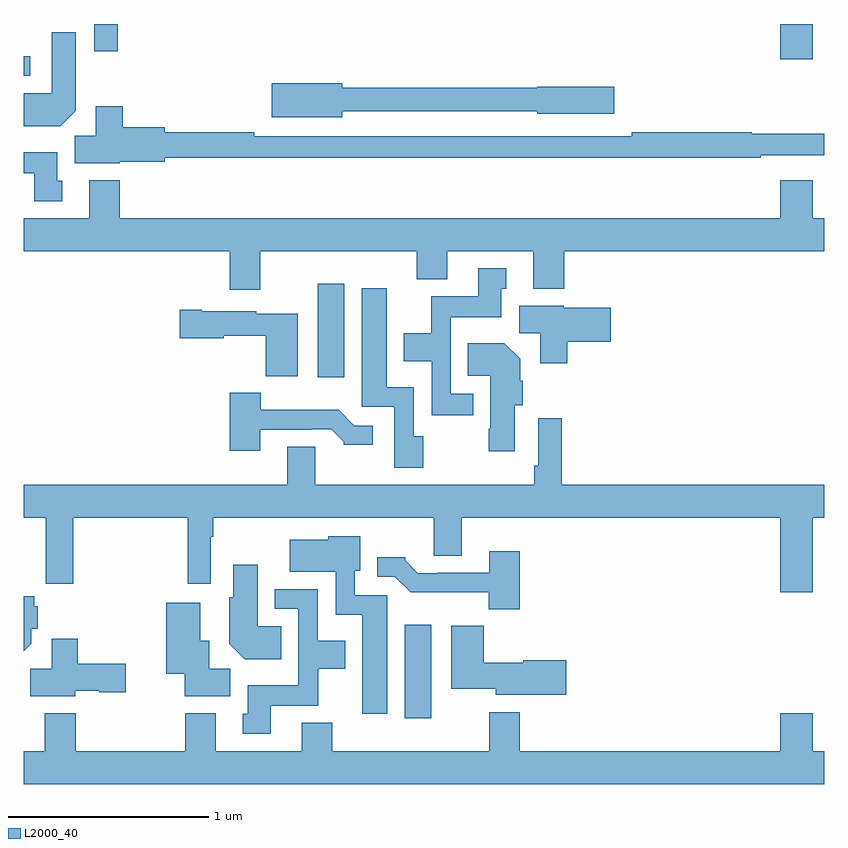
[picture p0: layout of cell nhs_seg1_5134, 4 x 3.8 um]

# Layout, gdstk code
import gdstk
lib = gdstk.Library(unit=1e-6, precision=1e-09)
def R(c, l, rs):  # rectangles x0, y0, x1, y1
    for r in rs: c.add(gdstk.rectangle(r[:2], r[2:], *l))
def P(c, l, *ps):  # polygons
    for p in ps: c.add(gdstk.Polygon(p, *l))
L2000_40 = (2000, 40)

nhs_seg1_5134 = lib.new_cell('nhs_seg1_5134')
R(nhs_seg1_5134, L2000_40, [(390.905,550.728,391.036,551.197), (390.47,552.432,390.601,552.901), (389,553.941,389.032,554.037), (392.78,554.022,392.944,554.199), (389.352,554.064,389.468,554.199)])
P(nhs_seg1_5134, L2000_40, [(389.26,553.766),(389.26,554.158),(389.138,554.158),(389.138,553.852),(389,553.852),(389,553.688),(389.182,553.688)],
  [(390.592,553.764),(391.566,553.764),(391.566,553.751),(391.951,553.751),(391.951,553.886),(391.566,553.886),(391.566,553.88),(390.592,553.88),(390.592,553.904),(390.24,553.904),(390.24,553.733),(390.592,553.733)],
  [(389.478,553.511),(389.704,553.511),(389.704,553.53),(392.684,553.53),(392.684,553.542),(393,553.542),(393,553.651),(392.638,553.651),(392.638,553.658),(392.038,553.658),(392.038,553.638),(390.152,553.638),(390.152,553.658),(389.704,553.658),(389.704,553.682),(389.495,553.682),(389.495,553.789),(389.36,553.789),(389.36,553.64),(389.255,553.64),(389.255,553.502),(389.478,553.502)],
  [(389.191,553.416),(389.167,553.416),(389.167,553.558),(389,553.558),(389,553.454),(389.051,553.454),(389.051,553.314),(389.191,553.314)],
  [(390.181,553.064),(390.965,553.064),(390.965,552.923),(391.117,552.923),(391.117,553.064),(391.547,553.064),(391.547,552.875),(391.7,552.875),(391.7,553.064),(393,553.064),(393,553.228),(392.944,553.228),(392.944,553.417),(392.78,553.417),(392.78,553.228),(389.48,553.228),(389.48,553.417),(389.327,553.417),(389.327,553.228),(389,553.228),(389,553.064),(390.029,553.064),(390.029,552.87),(390.181,552.87)],
  [(391.246,552.351),(391.134,552.351),(391.134,552.734),(391.387,552.734),(391.387,552.876),(391.411,552.876),(391.411,552.979),(391.271,552.979),(391.271,552.838),(391.036,552.838),(391.036,552.652),(390.899,552.652),(390.899,552.512),(391.038,552.512),(391.038,552.243),(391.246,552.243)],
  [(390.996,552.138),(390.948,552.138),(390.948,552.382),(390.814,552.382),(390.814,552.877),(390.689,552.877),(390.689,552.285),(390.852,552.285),(390.852,551.982),(390.996,551.982)],
  [(391.715,552.611),(391.933,552.611),(391.933,552.781),(391.698,552.781),(391.698,552.79),(391.475,552.79),(391.475,552.652),(391.58,552.652),(391.58,552.504),(391.715,552.504)],
  [(390.37,552.751),(390.162,552.751),(390.162,552.763),(389.89,552.763),(389.89,552.771),(389.778,552.771),(389.778,552.629),(390,552.629),(390,552.641),(390.208,552.641),(390.208,552.437),(390.37,552.437)],
  [(391.453,552.294),(391.493,552.294),(391.493,552.416),(391.48,552.416),(391.48,552.526),(391.402,552.604),(391.219,552.604),(391.219,552.44),(391.331,552.44),(391.331,552.175),(391.324,552.175),(391.324,552.063),(391.453,552.063)],
  [(390.181,552.171),(390.437,552.171),(390.437,552.174),(390.536,552.174),(390.6,552.11),(390.6,552.095),(390.745,552.095),(390.745,552.192),(390.651,552.192),(390.573,552.271),(390.184,552.271),(390.184,552.355),(390.029,552.355),(390.029,552.066),(390.181,552.066)],
  [(392.944,551.732),(393,551.732),(393,551.896),(391.688,551.896),(391.688,552.229),(391.572,552.229),(391.572,551.992),(391.552,551.992),(391.552,551.896),(390.457,551.896),(390.457,552.086),(390.317,552.086),(390.317,551.896),(389,551.896),(389,551.732),(389.11,551.732),(389.11,551.4),(389.246,551.4),(389.246,551.732),(389.818,551.732),(389.818,551.4),(389.934,551.4),(389.934,551.636),(389.947,551.636),(389.947,551.732),(391.049,551.732),(391.049,551.542),(391.189,551.542),(391.189,551.732),(392.78,551.732),(392.78,551.358),(392.944,551.358)],
  [(390.817,551.343),(390.654,551.343),(390.654,551.466),(390.682,551.466),(390.682,551.638),(390.522,551.638),(390.522,551.62),(390.33,551.62),(390.33,551.462),(390.558,551.462),(390.558,551.246),(390.692,551.246),(390.692,550.752),(390.817,550.752)],
  [(391.478,551.563),(391.325,551.563),(391.325,551.457),(391.069,551.457),(391.069,551.454),(390.97,551.454),(390.906,551.518),(390.906,551.533),(390.767,551.533),(390.767,551.436),(390.855,551.436),(390.934,551.358),(391.323,551.358),(391.323,551.273),(391.478,551.273)],
  [(390.287,551.188),(390.169,551.188),(390.169,551.497),(390.047,551.497),(390.047,551.334),(390.026,551.334),(390.026,551.102),(390.104,551.024),(390.287,551.024)],
  [(390.235,550.79),(390.471,550.79),(390.471,550.976),(390.607,550.976),(390.607,551.116),(390.468,551.116),(390.468,551.373),(390.255,551.373),(390.255,551.277),(390.372,551.277),(390.372,550.894),(390.119,550.894),(390.119,550.752),(390.095,550.752),(390.095,550.65),(390.235,550.65)],
  [(389.038,551.102),(389.038,551.175),(389.069,551.175),(389.069,551.289),(389.051,551.289),(389.051,551.338),(389,551.338),(389,551.064)],
  [(390.031,550.976),(389.926,550.976),(389.926,551.116),(389.881,551.116),(389.881,551.305),(389.711,551.305),(389.711,550.952),(389.804,550.952),(389.804,550.838),(390.031,550.838)],
  [(391.711,551.018),(391.497,551.018),(391.497,551.005),(391.298,551.005),(391.298,551.191),(391.136,551.191),(391.136,550.877),(391.358,550.877),(391.358,550.847),(391.711,550.847)],
  [(389.256,550.865),(389.376,550.865),(389.376,550.858),(389.509,550.858),(389.509,551),(389.268,551),(389.268,551.125),(389.138,551.125),(389.138,550.976),(389.033,550.976),(389.033,550.838),(389.256,550.838)],
  [(393,550.564),(392.944,550.564),(392.944,550.753),(392.78,550.753),(392.78,550.564),(391.478,550.564),(391.478,550.759),(391.325,550.759),(391.325,550.564),(390.542,550.564),(390.542,550.705),(390.389,550.705),(390.389,550.564),(389.959,550.564),(389.959,550.753),(389.807,550.753),(389.807,550.564),(389.258,550.564),(389.258,550.753),(389.105,550.753),(389.105,550.564),(389,550.564),(389,550.4),(393,550.4)])

lib.write_gds('nhs_seg1_5134.gds')
